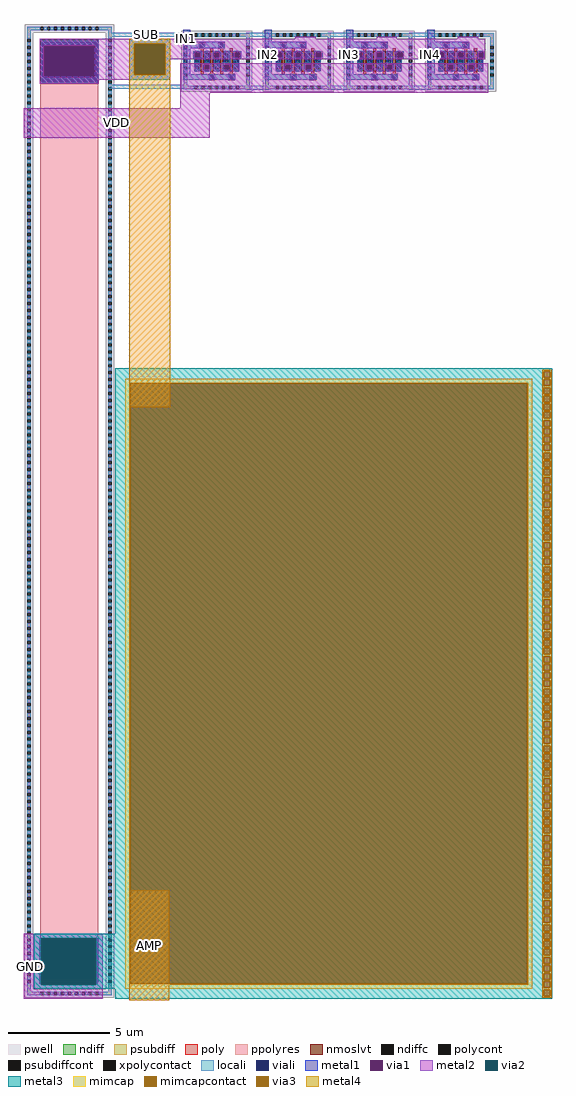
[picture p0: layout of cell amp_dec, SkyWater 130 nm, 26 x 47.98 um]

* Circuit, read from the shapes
.subckt amp_dec GND IN1 VDD IN2 IN3 IN4 AMP SUB
XM1 VDD IN1 AMP SUB sky130_fd_pr__nfet_01v8_lvt w=1 l=0.15 m=4
XM2 VDD IN2 AMP SUB sky130_fd_pr__nfet_01v8_lvt w=1 l=0.15 m=4
XM3 VDD IN3 AMP SUB sky130_fd_pr__nfet_01v8_lvt w=1 l=0.15 m=4
XM4 VDD IN4 AMP SUB sky130_fd_pr__nfet_01v8_lvt w=1 l=0.15 m=4
XC5 AMP GND sky130_fd_pr__cap_mim_m3_1 w=20 l=30
XR6 AMP GND SUB sky130_fd_pr__res_high_po w=2.85 l=42
.ends

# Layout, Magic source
magic
tech sky130A
magscale 1 2
<< locali >>
rect 5840 10060 6580 10100
rect 7190 10060 7410 10100
rect 7990 10060 8210 10100
rect 8790 10060 9010 10100
rect 5840 9550 6590 9590
rect 7190 9540 7410 9580
rect 7990 9540 8210 9580
rect 8790 9540 9010 9580
<< metal1 >>
rect 5160 9974 5740 10040
rect 5160 9666 5200 9974
rect 5700 9666 5740 9974
rect 5160 9600 5740 9666
rect 6570 10010 6640 10130
rect 7370 10010 7440 10130
rect 8170 10010 8240 10130
rect 8970 10010 9040 10130
rect 6570 9950 6980 10010
rect 7370 9950 7780 10010
rect 8170 9950 8580 10010
rect 8970 9950 9380 10010
rect 6570 9690 6640 9950
rect 6670 9906 6750 9920
rect 6670 9854 6684 9906
rect 6736 9854 6750 9906
rect 6670 9840 6750 9854
rect 6680 9720 6730 9840
rect 6780 9800 6830 9920
rect 6860 9906 6940 9920
rect 6860 9854 6874 9906
rect 6926 9854 6940 9906
rect 6860 9840 6940 9854
rect 6760 9786 6840 9800
rect 6760 9734 6774 9786
rect 6826 9734 6840 9786
rect 6760 9720 6840 9734
rect 6870 9720 6930 9840
rect 6970 9810 7030 9920
rect 7060 9906 7140 9920
rect 7060 9854 7074 9906
rect 7126 9854 7140 9906
rect 7060 9840 7140 9854
rect 7060 9830 7120 9840
rect 6960 9800 7030 9810
rect 6960 9786 7040 9800
rect 6960 9734 6974 9786
rect 7026 9734 7040 9786
rect 6960 9720 7040 9734
rect 7070 9720 7120 9830
rect 7370 9690 7440 9950
rect 7470 9906 7550 9920
rect 7470 9854 7484 9906
rect 7536 9854 7550 9906
rect 7470 9840 7550 9854
rect 7480 9720 7530 9840
rect 7580 9800 7630 9920
rect 7660 9906 7740 9920
rect 7660 9854 7674 9906
rect 7726 9854 7740 9906
rect 7660 9840 7740 9854
rect 7560 9786 7640 9800
rect 7560 9734 7574 9786
rect 7626 9734 7640 9786
rect 7560 9720 7640 9734
rect 7670 9720 7730 9840
rect 7770 9810 7830 9920
rect 7860 9906 7940 9920
rect 7860 9854 7874 9906
rect 7926 9854 7940 9906
rect 7860 9840 7940 9854
rect 7860 9830 7920 9840
rect 7760 9800 7830 9810
rect 7760 9786 7840 9800
rect 7760 9734 7774 9786
rect 7826 9734 7840 9786
rect 7760 9720 7840 9734
rect 7868 9720 7920 9830
rect 8170 9690 8240 9950
rect 8270 9906 8350 9920
rect 8270 9854 8284 9906
rect 8336 9854 8350 9906
rect 8270 9840 8350 9854
rect 8280 9720 8330 9840
rect 8380 9800 8430 9920
rect 8460 9906 8540 9920
rect 8460 9854 8474 9906
rect 8526 9854 8540 9906
rect 8460 9840 8540 9854
rect 8360 9786 8440 9800
rect 8360 9734 8374 9786
rect 8426 9734 8440 9786
rect 8360 9720 8440 9734
rect 8470 9720 8530 9840
rect 8570 9810 8630 9920
rect 8660 9906 8740 9920
rect 8660 9854 8674 9906
rect 8726 9854 8740 9906
rect 8660 9840 8740 9854
rect 8660 9830 8720 9840
rect 8560 9800 8630 9810
rect 8560 9786 8640 9800
rect 8560 9734 8574 9786
rect 8626 9734 8640 9786
rect 8560 9720 8640 9734
rect 8668 9720 8720 9830
rect 8970 9690 9040 9950
rect 9070 9906 9150 9920
rect 9070 9854 9084 9906
rect 9136 9854 9150 9906
rect 9070 9840 9150 9854
rect 9080 9720 9130 9840
rect 9180 9800 9230 9920
rect 9260 9906 9340 9920
rect 9260 9854 9274 9906
rect 9326 9854 9340 9906
rect 9260 9840 9340 9854
rect 9160 9786 9240 9800
rect 9160 9734 9174 9786
rect 9226 9734 9240 9786
rect 9160 9720 9240 9734
rect 9270 9720 9330 9840
rect 9370 9810 9430 9920
rect 9460 9906 9540 9920
rect 9460 9854 9474 9906
rect 9526 9854 9540 9906
rect 9460 9840 9540 9854
rect 9460 9830 9520 9840
rect 9360 9800 9430 9810
rect 9360 9786 9440 9800
rect 9360 9734 9374 9786
rect 9426 9734 9440 9786
rect 9360 9720 9440 9734
rect 9468 9720 9520 9830
rect 6570 9640 7080 9690
rect 7370 9640 7880 9690
rect 8170 9640 8680 9690
rect 8970 9640 9480 9690
rect 5100 1188 5780 1240
rect 5100 752 5158 1188
rect 5722 752 5780 1188
rect 5100 700 5780 752
<< via1 >>
rect 5200 9666 5700 9974
rect 6684 9854 6736 9906
rect 6874 9854 6926 9906
rect 6774 9734 6826 9786
rect 7074 9854 7126 9906
rect 6974 9734 7026 9786
rect 7484 9854 7536 9906
rect 7674 9854 7726 9906
rect 7574 9734 7626 9786
rect 7874 9854 7926 9906
rect 7774 9734 7826 9786
rect 8284 9854 8336 9906
rect 8474 9854 8526 9906
rect 8374 9734 8426 9786
rect 8674 9854 8726 9906
rect 8574 9734 8626 9786
rect 9084 9854 9136 9906
rect 9274 9854 9326 9906
rect 9174 9734 9226 9786
rect 9474 9854 9526 9906
rect 9374 9734 9426 9786
rect 5158 752 5722 1188
<< metal2 >>
rect 7670 10040 7870 10060
rect 8470 10040 8670 10060
rect 9270 10040 9470 10060
rect 5160 9988 9540 10040
rect 5160 9974 6092 9988
rect 5160 9666 5200 9974
rect 5700 9692 6092 9974
rect 6388 9906 9540 9988
rect 6388 9854 6684 9906
rect 6736 9854 6874 9906
rect 6926 9854 7074 9906
rect 7126 9854 7484 9906
rect 7536 9854 7674 9906
rect 7726 9854 7874 9906
rect 7926 9854 8284 9906
rect 8336 9854 8474 9906
rect 8526 9854 8674 9906
rect 8726 9854 9084 9906
rect 9136 9854 9274 9906
rect 9326 9854 9474 9906
rect 9526 9854 9540 9906
rect 6388 9840 9540 9854
rect 6388 9692 6440 9840
rect 5700 9666 6440 9692
rect 5160 9640 6440 9666
rect 6540 9786 9570 9800
rect 6540 9734 6774 9786
rect 6826 9734 6974 9786
rect 7026 9734 7574 9786
rect 7626 9734 7774 9786
rect 7826 9734 8374 9786
rect 8426 9734 8574 9786
rect 8626 9734 9174 9786
rect 9226 9734 9374 9786
rect 9426 9734 9570 9786
rect 5160 9600 5740 9640
rect 6540 9510 9570 9734
rect 6540 9360 6830 9510
rect 5000 9070 6830 9360
rect 5000 1198 5780 1240
rect 5000 1188 5172 1198
rect 5708 1188 5780 1198
rect 5000 752 5158 1188
rect 5722 752 5780 1188
rect 5000 742 5172 752
rect 5708 742 5780 752
rect 5000 600 5780 742
<< via2 >>
rect 6092 9692 6388 9988
rect 5172 1188 5708 1198
rect 5172 752 5708 1188
rect 5172 742 5708 752
<< metal3 >>
rect 6040 9992 6440 10040
rect 6040 9688 6088 9992
rect 6392 9688 6440 9992
rect 6040 9640 6440 9688
rect 5100 1198 6040 1240
rect 5100 742 5172 1198
rect 5708 742 6040 1198
rect 5100 700 6040 742
<< via3 >>
rect 6088 9988 6392 9992
rect 6088 9692 6092 9988
rect 6092 9692 6388 9988
rect 6388 9692 6392 9988
rect 6088 9688 6392 9692
<< metal4 >>
rect 6040 9992 6440 10040
rect 6040 9688 6088 9992
rect 6392 9688 6440 9992
rect 6040 6420 6440 9688
rect 6040 590 6430 1670
use sky130_fd_pr__cap_mim_m3_1_4RCNTW  XC1
transform 1 0 8050 0 1 3700
box -2150 -3100 2149 3100
use sky130_fd_pr__nfet_01v8_lvt_HNLS5R  XM25
transform 1 0 8499 0 -1 9820
box -349 -300 349 300
use sky130_fd_pr__nfet_01v8_lvt_HNLS5R  XM26
transform 1 0 9299 0 -1 9820
box -349 -300 349 300
use sky130_fd_pr__nfet_01v8_lvt_HNLS5R  XM27
transform 1 0 7699 0 -1 9820
box -349 -300 349 300
use sky130_fd_pr__nfet_01v8_lvt_HNLS5R  XM28
transform 1 0 6899 0 -1 9820
box -349 -300 349 300
use sky130_fd_pr__res_high_po_2p85_MXEQGY  XR18
transform 1 0 5451 0 1 5398
box -441 -4788 441 4788
<< labels >>
rlabel metal2 s 5000 600 5140 1240 4 GND
port 1 nsew
rlabel metal1 s 6570 9950 6640 10130 4 IN1
port 2 nsew
rlabel metal2 s 5000 9070 6830 9360 4 VDD
port 3 nsew
rlabel metal1 s 7370 9640 7440 10130 4 IN2
port 4 nsew
rlabel metal1 s 8170 9640 8240 10130 4 IN3
port 5 nsew
rlabel metal1 s 8970 9640 9040 10130 4 IN4
port 6 nsew
rlabel metal4 s 6040 590 6430 1670 4 AMP
port 7 nsew
rlabel locali s 5840 10060 6580 10100 4 SUB
port 8 nsew
<< end >>

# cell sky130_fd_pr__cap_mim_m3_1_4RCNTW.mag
magic
tech sky130A
magscale 1 2
<< metal3 >>
rect -2150 3072 2149 3100
rect -2150 3008 2065 3072
rect 2129 3008 2149 3072
rect -2150 2992 2149 3008
rect -2150 2928 2065 2992
rect 2129 2928 2149 2992
rect -2150 2912 2149 2928
rect -2150 2848 2065 2912
rect 2129 2848 2149 2912
rect -2150 2832 2149 2848
rect -2150 2768 2065 2832
rect 2129 2768 2149 2832
rect -2150 2752 2149 2768
rect -2150 2688 2065 2752
rect 2129 2688 2149 2752
rect -2150 2672 2149 2688
rect -2150 2608 2065 2672
rect 2129 2608 2149 2672
rect -2150 2592 2149 2608
rect -2150 2528 2065 2592
rect 2129 2528 2149 2592
rect -2150 2512 2149 2528
rect -2150 2448 2065 2512
rect 2129 2448 2149 2512
rect -2150 2432 2149 2448
rect -2150 2368 2065 2432
rect 2129 2368 2149 2432
rect -2150 2352 2149 2368
rect -2150 2288 2065 2352
rect 2129 2288 2149 2352
rect -2150 2272 2149 2288
rect -2150 2208 2065 2272
rect 2129 2208 2149 2272
rect -2150 2192 2149 2208
rect -2150 2128 2065 2192
rect 2129 2128 2149 2192
rect -2150 2112 2149 2128
rect -2150 2048 2065 2112
rect 2129 2048 2149 2112
rect -2150 2032 2149 2048
rect -2150 1968 2065 2032
rect 2129 1968 2149 2032
rect -2150 1952 2149 1968
rect -2150 1888 2065 1952
rect 2129 1888 2149 1952
rect -2150 1872 2149 1888
rect -2150 1808 2065 1872
rect 2129 1808 2149 1872
rect -2150 1792 2149 1808
rect -2150 1728 2065 1792
rect 2129 1728 2149 1792
rect -2150 1712 2149 1728
rect -2150 1648 2065 1712
rect 2129 1648 2149 1712
rect -2150 1632 2149 1648
rect -2150 1568 2065 1632
rect 2129 1568 2149 1632
rect -2150 1552 2149 1568
rect -2150 1488 2065 1552
rect 2129 1488 2149 1552
rect -2150 1472 2149 1488
rect -2150 1408 2065 1472
rect 2129 1408 2149 1472
rect -2150 1392 2149 1408
rect -2150 1328 2065 1392
rect 2129 1328 2149 1392
rect -2150 1312 2149 1328
rect -2150 1248 2065 1312
rect 2129 1248 2149 1312
rect -2150 1232 2149 1248
rect -2150 1168 2065 1232
rect 2129 1168 2149 1232
rect -2150 1152 2149 1168
rect -2150 1088 2065 1152
rect 2129 1088 2149 1152
rect -2150 1072 2149 1088
rect -2150 1008 2065 1072
rect 2129 1008 2149 1072
rect -2150 992 2149 1008
rect -2150 928 2065 992
rect 2129 928 2149 992
rect -2150 912 2149 928
rect -2150 848 2065 912
rect 2129 848 2149 912
rect -2150 832 2149 848
rect -2150 768 2065 832
rect 2129 768 2149 832
rect -2150 752 2149 768
rect -2150 688 2065 752
rect 2129 688 2149 752
rect -2150 672 2149 688
rect -2150 608 2065 672
rect 2129 608 2149 672
rect -2150 592 2149 608
rect -2150 528 2065 592
rect 2129 528 2149 592
rect -2150 512 2149 528
rect -2150 448 2065 512
rect 2129 448 2149 512
rect -2150 432 2149 448
rect -2150 368 2065 432
rect 2129 368 2149 432
rect -2150 352 2149 368
rect -2150 288 2065 352
rect 2129 288 2149 352
rect -2150 272 2149 288
rect -2150 208 2065 272
rect 2129 208 2149 272
rect -2150 192 2149 208
rect -2150 128 2065 192
rect 2129 128 2149 192
rect -2150 112 2149 128
rect -2150 48 2065 112
rect 2129 48 2149 112
rect -2150 32 2149 48
rect -2150 -32 2065 32
rect 2129 -32 2149 32
rect -2150 -48 2149 -32
rect -2150 -112 2065 -48
rect 2129 -112 2149 -48
rect -2150 -128 2149 -112
rect -2150 -192 2065 -128
rect 2129 -192 2149 -128
rect -2150 -208 2149 -192
rect -2150 -272 2065 -208
rect 2129 -272 2149 -208
rect -2150 -288 2149 -272
rect -2150 -352 2065 -288
rect 2129 -352 2149 -288
rect -2150 -368 2149 -352
rect -2150 -432 2065 -368
rect 2129 -432 2149 -368
rect -2150 -448 2149 -432
rect -2150 -512 2065 -448
rect 2129 -512 2149 -448
rect -2150 -528 2149 -512
rect -2150 -592 2065 -528
rect 2129 -592 2149 -528
rect -2150 -608 2149 -592
rect -2150 -672 2065 -608
rect 2129 -672 2149 -608
rect -2150 -688 2149 -672
rect -2150 -752 2065 -688
rect 2129 -752 2149 -688
rect -2150 -768 2149 -752
rect -2150 -832 2065 -768
rect 2129 -832 2149 -768
rect -2150 -848 2149 -832
rect -2150 -912 2065 -848
rect 2129 -912 2149 -848
rect -2150 -928 2149 -912
rect -2150 -992 2065 -928
rect 2129 -992 2149 -928
rect -2150 -1008 2149 -992
rect -2150 -1072 2065 -1008
rect 2129 -1072 2149 -1008
rect -2150 -1088 2149 -1072
rect -2150 -1152 2065 -1088
rect 2129 -1152 2149 -1088
rect -2150 -1168 2149 -1152
rect -2150 -1232 2065 -1168
rect 2129 -1232 2149 -1168
rect -2150 -1248 2149 -1232
rect -2150 -1312 2065 -1248
rect 2129 -1312 2149 -1248
rect -2150 -1328 2149 -1312
rect -2150 -1392 2065 -1328
rect 2129 -1392 2149 -1328
rect -2150 -1408 2149 -1392
rect -2150 -1472 2065 -1408
rect 2129 -1472 2149 -1408
rect -2150 -1488 2149 -1472
rect -2150 -1552 2065 -1488
rect 2129 -1552 2149 -1488
rect -2150 -1568 2149 -1552
rect -2150 -1632 2065 -1568
rect 2129 -1632 2149 -1568
rect -2150 -1648 2149 -1632
rect -2150 -1712 2065 -1648
rect 2129 -1712 2149 -1648
rect -2150 -1728 2149 -1712
rect -2150 -1792 2065 -1728
rect 2129 -1792 2149 -1728
rect -2150 -1808 2149 -1792
rect -2150 -1872 2065 -1808
rect 2129 -1872 2149 -1808
rect -2150 -1888 2149 -1872
rect -2150 -1952 2065 -1888
rect 2129 -1952 2149 -1888
rect -2150 -1968 2149 -1952
rect -2150 -2032 2065 -1968
rect 2129 -2032 2149 -1968
rect -2150 -2048 2149 -2032
rect -2150 -2112 2065 -2048
rect 2129 -2112 2149 -2048
rect -2150 -2128 2149 -2112
rect -2150 -2192 2065 -2128
rect 2129 -2192 2149 -2128
rect -2150 -2208 2149 -2192
rect -2150 -2272 2065 -2208
rect 2129 -2272 2149 -2208
rect -2150 -2288 2149 -2272
rect -2150 -2352 2065 -2288
rect 2129 -2352 2149 -2288
rect -2150 -2368 2149 -2352
rect -2150 -2432 2065 -2368
rect 2129 -2432 2149 -2368
rect -2150 -2448 2149 -2432
rect -2150 -2512 2065 -2448
rect 2129 -2512 2149 -2448
rect -2150 -2528 2149 -2512
rect -2150 -2592 2065 -2528
rect 2129 -2592 2149 -2528
rect -2150 -2608 2149 -2592
rect -2150 -2672 2065 -2608
rect 2129 -2672 2149 -2608
rect -2150 -2688 2149 -2672
rect -2150 -2752 2065 -2688
rect 2129 -2752 2149 -2688
rect -2150 -2768 2149 -2752
rect -2150 -2832 2065 -2768
rect 2129 -2832 2149 -2768
rect -2150 -2848 2149 -2832
rect -2150 -2912 2065 -2848
rect 2129 -2912 2149 -2848
rect -2150 -2928 2149 -2912
rect -2150 -2992 2065 -2928
rect 2129 -2992 2149 -2928
rect -2150 -3008 2149 -2992
rect -2150 -3072 2065 -3008
rect 2129 -3072 2149 -3008
rect -2150 -3100 2149 -3072
<< via3 >>
rect 2065 3008 2129 3072
rect 2065 2928 2129 2992
rect 2065 2848 2129 2912
rect 2065 2768 2129 2832
rect 2065 2688 2129 2752
rect 2065 2608 2129 2672
rect 2065 2528 2129 2592
rect 2065 2448 2129 2512
rect 2065 2368 2129 2432
rect 2065 2288 2129 2352
rect 2065 2208 2129 2272
rect 2065 2128 2129 2192
rect 2065 2048 2129 2112
rect 2065 1968 2129 2032
rect 2065 1888 2129 1952
rect 2065 1808 2129 1872
rect 2065 1728 2129 1792
rect 2065 1648 2129 1712
rect 2065 1568 2129 1632
rect 2065 1488 2129 1552
rect 2065 1408 2129 1472
rect 2065 1328 2129 1392
rect 2065 1248 2129 1312
rect 2065 1168 2129 1232
rect 2065 1088 2129 1152
rect 2065 1008 2129 1072
rect 2065 928 2129 992
rect 2065 848 2129 912
rect 2065 768 2129 832
rect 2065 688 2129 752
rect 2065 608 2129 672
rect 2065 528 2129 592
rect 2065 448 2129 512
rect 2065 368 2129 432
rect 2065 288 2129 352
rect 2065 208 2129 272
rect 2065 128 2129 192
rect 2065 48 2129 112
rect 2065 -32 2129 32
rect 2065 -112 2129 -48
rect 2065 -192 2129 -128
rect 2065 -272 2129 -208
rect 2065 -352 2129 -288
rect 2065 -432 2129 -368
rect 2065 -512 2129 -448
rect 2065 -592 2129 -528
rect 2065 -672 2129 -608
rect 2065 -752 2129 -688
rect 2065 -832 2129 -768
rect 2065 -912 2129 -848
rect 2065 -992 2129 -928
rect 2065 -1072 2129 -1008
rect 2065 -1152 2129 -1088
rect 2065 -1232 2129 -1168
rect 2065 -1312 2129 -1248
rect 2065 -1392 2129 -1328
rect 2065 -1472 2129 -1408
rect 2065 -1552 2129 -1488
rect 2065 -1632 2129 -1568
rect 2065 -1712 2129 -1648
rect 2065 -1792 2129 -1728
rect 2065 -1872 2129 -1808
rect 2065 -1952 2129 -1888
rect 2065 -2032 2129 -1968
rect 2065 -2112 2129 -2048
rect 2065 -2192 2129 -2128
rect 2065 -2272 2129 -2208
rect 2065 -2352 2129 -2288
rect 2065 -2432 2129 -2368
rect 2065 -2512 2129 -2448
rect 2065 -2592 2129 -2528
rect 2065 -2672 2129 -2608
rect 2065 -2752 2129 -2688
rect 2065 -2832 2129 -2768
rect 2065 -2912 2129 -2848
rect 2065 -2992 2129 -2928
rect 2065 -3072 2129 -3008
<< mimcap >>
rect -2050 2952 1950 3000
rect -2050 -2952 -2002 2952
rect 1902 -2952 1950 2952
rect -2050 -3000 1950 -2952
<< mimcapcontact >>
rect -2002 -2952 1902 2952
<< metal4 >>
rect 2049 3072 2145 3088
rect 2049 3008 2065 3072
rect 2129 3008 2145 3072
rect 2049 2992 2145 3008
rect -2011 2952 1911 2961
rect -2011 -2952 -2002 2952
rect 1902 -2952 1911 2952
rect -2011 -2961 1911 -2952
rect 2049 2928 2065 2992
rect 2129 2928 2145 2992
rect 2049 2912 2145 2928
rect 2049 2848 2065 2912
rect 2129 2848 2145 2912
rect 2049 2832 2145 2848
rect 2049 2768 2065 2832
rect 2129 2768 2145 2832
rect 2049 2752 2145 2768
rect 2049 2688 2065 2752
rect 2129 2688 2145 2752
rect 2049 2672 2145 2688
rect 2049 2608 2065 2672
rect 2129 2608 2145 2672
rect 2049 2592 2145 2608
rect 2049 2528 2065 2592
rect 2129 2528 2145 2592
rect 2049 2512 2145 2528
rect 2049 2448 2065 2512
rect 2129 2448 2145 2512
rect 2049 2432 2145 2448
rect 2049 2368 2065 2432
rect 2129 2368 2145 2432
rect 2049 2352 2145 2368
rect 2049 2288 2065 2352
rect 2129 2288 2145 2352
rect 2049 2272 2145 2288
rect 2049 2208 2065 2272
rect 2129 2208 2145 2272
rect 2049 2192 2145 2208
rect 2049 2128 2065 2192
rect 2129 2128 2145 2192
rect 2049 2112 2145 2128
rect 2049 2048 2065 2112
rect 2129 2048 2145 2112
rect 2049 2032 2145 2048
rect 2049 1968 2065 2032
rect 2129 1968 2145 2032
rect 2049 1952 2145 1968
rect 2049 1888 2065 1952
rect 2129 1888 2145 1952
rect 2049 1872 2145 1888
rect 2049 1808 2065 1872
rect 2129 1808 2145 1872
rect 2049 1792 2145 1808
rect 2049 1728 2065 1792
rect 2129 1728 2145 1792
rect 2049 1712 2145 1728
rect 2049 1648 2065 1712
rect 2129 1648 2145 1712
rect 2049 1632 2145 1648
rect 2049 1568 2065 1632
rect 2129 1568 2145 1632
rect 2049 1552 2145 1568
rect 2049 1488 2065 1552
rect 2129 1488 2145 1552
rect 2049 1472 2145 1488
rect 2049 1408 2065 1472
rect 2129 1408 2145 1472
rect 2049 1392 2145 1408
rect 2049 1328 2065 1392
rect 2129 1328 2145 1392
rect 2049 1312 2145 1328
rect 2049 1248 2065 1312
rect 2129 1248 2145 1312
rect 2049 1232 2145 1248
rect 2049 1168 2065 1232
rect 2129 1168 2145 1232
rect 2049 1152 2145 1168
rect 2049 1088 2065 1152
rect 2129 1088 2145 1152
rect 2049 1072 2145 1088
rect 2049 1008 2065 1072
rect 2129 1008 2145 1072
rect 2049 992 2145 1008
rect 2049 928 2065 992
rect 2129 928 2145 992
rect 2049 912 2145 928
rect 2049 848 2065 912
rect 2129 848 2145 912
rect 2049 832 2145 848
rect 2049 768 2065 832
rect 2129 768 2145 832
rect 2049 752 2145 768
rect 2049 688 2065 752
rect 2129 688 2145 752
rect 2049 672 2145 688
rect 2049 608 2065 672
rect 2129 608 2145 672
rect 2049 592 2145 608
rect 2049 528 2065 592
rect 2129 528 2145 592
rect 2049 512 2145 528
rect 2049 448 2065 512
rect 2129 448 2145 512
rect 2049 432 2145 448
rect 2049 368 2065 432
rect 2129 368 2145 432
rect 2049 352 2145 368
rect 2049 288 2065 352
rect 2129 288 2145 352
rect 2049 272 2145 288
rect 2049 208 2065 272
rect 2129 208 2145 272
rect 2049 192 2145 208
rect 2049 128 2065 192
rect 2129 128 2145 192
rect 2049 112 2145 128
rect 2049 48 2065 112
rect 2129 48 2145 112
rect 2049 32 2145 48
rect 2049 -32 2065 32
rect 2129 -32 2145 32
rect 2049 -48 2145 -32
rect 2049 -112 2065 -48
rect 2129 -112 2145 -48
rect 2049 -128 2145 -112
rect 2049 -192 2065 -128
rect 2129 -192 2145 -128
rect 2049 -208 2145 -192
rect 2049 -272 2065 -208
rect 2129 -272 2145 -208
rect 2049 -288 2145 -272
rect 2049 -352 2065 -288
rect 2129 -352 2145 -288
rect 2049 -368 2145 -352
rect 2049 -432 2065 -368
rect 2129 -432 2145 -368
rect 2049 -448 2145 -432
rect 2049 -512 2065 -448
rect 2129 -512 2145 -448
rect 2049 -528 2145 -512
rect 2049 -592 2065 -528
rect 2129 -592 2145 -528
rect 2049 -608 2145 -592
rect 2049 -672 2065 -608
rect 2129 -672 2145 -608
rect 2049 -688 2145 -672
rect 2049 -752 2065 -688
rect 2129 -752 2145 -688
rect 2049 -768 2145 -752
rect 2049 -832 2065 -768
rect 2129 -832 2145 -768
rect 2049 -848 2145 -832
rect 2049 -912 2065 -848
rect 2129 -912 2145 -848
rect 2049 -928 2145 -912
rect 2049 -992 2065 -928
rect 2129 -992 2145 -928
rect 2049 -1008 2145 -992
rect 2049 -1072 2065 -1008
rect 2129 -1072 2145 -1008
rect 2049 -1088 2145 -1072
rect 2049 -1152 2065 -1088
rect 2129 -1152 2145 -1088
rect 2049 -1168 2145 -1152
rect 2049 -1232 2065 -1168
rect 2129 -1232 2145 -1168
rect 2049 -1248 2145 -1232
rect 2049 -1312 2065 -1248
rect 2129 -1312 2145 -1248
rect 2049 -1328 2145 -1312
rect 2049 -1392 2065 -1328
rect 2129 -1392 2145 -1328
rect 2049 -1408 2145 -1392
rect 2049 -1472 2065 -1408
rect 2129 -1472 2145 -1408
rect 2049 -1488 2145 -1472
rect 2049 -1552 2065 -1488
rect 2129 -1552 2145 -1488
rect 2049 -1568 2145 -1552
rect 2049 -1632 2065 -1568
rect 2129 -1632 2145 -1568
rect 2049 -1648 2145 -1632
rect 2049 -1712 2065 -1648
rect 2129 -1712 2145 -1648
rect 2049 -1728 2145 -1712
rect 2049 -1792 2065 -1728
rect 2129 -1792 2145 -1728
rect 2049 -1808 2145 -1792
rect 2049 -1872 2065 -1808
rect 2129 -1872 2145 -1808
rect 2049 -1888 2145 -1872
rect 2049 -1952 2065 -1888
rect 2129 -1952 2145 -1888
rect 2049 -1968 2145 -1952
rect 2049 -2032 2065 -1968
rect 2129 -2032 2145 -1968
rect 2049 -2048 2145 -2032
rect 2049 -2112 2065 -2048
rect 2129 -2112 2145 -2048
rect 2049 -2128 2145 -2112
rect 2049 -2192 2065 -2128
rect 2129 -2192 2145 -2128
rect 2049 -2208 2145 -2192
rect 2049 -2272 2065 -2208
rect 2129 -2272 2145 -2208
rect 2049 -2288 2145 -2272
rect 2049 -2352 2065 -2288
rect 2129 -2352 2145 -2288
rect 2049 -2368 2145 -2352
rect 2049 -2432 2065 -2368
rect 2129 -2432 2145 -2368
rect 2049 -2448 2145 -2432
rect 2049 -2512 2065 -2448
rect 2129 -2512 2145 -2448
rect 2049 -2528 2145 -2512
rect 2049 -2592 2065 -2528
rect 2129 -2592 2145 -2528
rect 2049 -2608 2145 -2592
rect 2049 -2672 2065 -2608
rect 2129 -2672 2145 -2608
rect 2049 -2688 2145 -2672
rect 2049 -2752 2065 -2688
rect 2129 -2752 2145 -2688
rect 2049 -2768 2145 -2752
rect 2049 -2832 2065 -2768
rect 2129 -2832 2145 -2768
rect 2049 -2848 2145 -2832
rect 2049 -2912 2065 -2848
rect 2129 -2912 2145 -2848
rect 2049 -2928 2145 -2912
rect 2049 -2992 2065 -2928
rect 2129 -2992 2145 -2928
rect 2049 -3008 2145 -2992
rect 2049 -3072 2065 -3008
rect 2129 -3072 2145 -3008
rect 2049 -3088 2145 -3072
<< properties >>
string FIXED_BBOX -2150 -3100 2050 3100
<< end >>

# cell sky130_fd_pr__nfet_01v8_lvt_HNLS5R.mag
magic
tech sky130A
magscale 1 2
<< pwell >>
rect -349 -300 349 300
<< nmoslvt >>
rect -159 -100 -129 100
rect -63 -100 -33 100
rect 33 -100 63 100
rect 129 -100 159 100
<< ndiff >>
rect -221 85 -159 100
rect -221 51 -209 85
rect -175 51 -159 85
rect -221 17 -159 51
rect -221 -17 -209 17
rect -175 -17 -159 17
rect -221 -51 -159 -17
rect -221 -85 -209 -51
rect -175 -85 -159 -51
rect -221 -100 -159 -85
rect -129 85 -63 100
rect -129 51 -113 85
rect -79 51 -63 85
rect -129 17 -63 51
rect -129 -17 -113 17
rect -79 -17 -63 17
rect -129 -51 -63 -17
rect -129 -85 -113 -51
rect -79 -85 -63 -51
rect -129 -100 -63 -85
rect -33 85 33 100
rect -33 51 -17 85
rect 17 51 33 85
rect -33 17 33 51
rect -33 -17 -17 17
rect 17 -17 33 17
rect -33 -51 33 -17
rect -33 -85 -17 -51
rect 17 -85 33 -51
rect -33 -100 33 -85
rect 63 85 129 100
rect 63 51 79 85
rect 113 51 129 85
rect 63 17 129 51
rect 63 -17 79 17
rect 113 -17 129 17
rect 63 -51 129 -17
rect 63 -85 79 -51
rect 113 -85 129 -51
rect 63 -100 129 -85
rect 159 85 221 100
rect 159 51 175 85
rect 209 51 221 85
rect 159 17 221 51
rect 159 -17 175 17
rect 209 -17 221 17
rect 159 -51 221 -17
rect 159 -85 175 -51
rect 209 -85 221 -51
rect 159 -100 221 -85
<< ndiffc >>
rect -209 51 -175 85
rect -209 -17 -175 17
rect -209 -85 -175 -51
rect -113 51 -79 85
rect -113 -17 -79 17
rect -113 -85 -79 -51
rect -17 51 17 85
rect -17 -17 17 17
rect -17 -85 17 -51
rect 79 51 113 85
rect 79 -17 113 17
rect 79 -85 113 -51
rect 175 51 209 85
rect 175 -17 209 17
rect 175 -85 209 -51
<< psubdiff >>
rect -323 240 -221 274
rect -187 240 -153 274
rect -119 240 -85 274
rect -51 240 -17 274
rect 17 240 51 274
rect 85 240 119 274
rect 153 240 187 274
rect 221 240 323 274
rect -323 153 -289 240
rect -323 85 -289 119
rect 289 153 323 240
rect -323 17 -289 51
rect -323 -51 -289 -17
rect -323 -119 -289 -85
rect 289 85 323 119
rect 289 17 323 51
rect 289 -51 323 -17
rect -323 -240 -289 -153
rect 289 -119 323 -85
rect 289 -240 323 -153
rect -323 -274 -221 -240
rect -187 -274 -153 -240
rect -119 -274 -85 -240
rect -51 -274 -17 -240
rect 17 -274 51 -240
rect 85 -274 119 -240
rect 153 -274 187 -240
rect 221 -274 323 -240
<< psubdiffcont >>
rect -221 240 -187 274
rect -153 240 -119 274
rect -85 240 -51 274
rect -17 240 17 274
rect 51 240 85 274
rect 119 240 153 274
rect 187 240 221 274
rect -323 119 -289 153
rect 289 119 323 153
rect -323 51 -289 85
rect -323 -17 -289 17
rect -323 -85 -289 -51
rect 289 51 323 85
rect 289 -17 323 17
rect 289 -85 323 -51
rect -323 -153 -289 -119
rect 289 -153 323 -119
rect -221 -274 -187 -240
rect -153 -274 -119 -240
rect -85 -274 -51 -240
rect -17 -274 17 -240
rect 51 -274 85 -240
rect 119 -274 153 -240
rect 187 -274 221 -240
<< poly >>
rect -81 172 -15 188
rect -81 138 -65 172
rect -31 138 -15 172
rect -159 100 -129 126
rect -81 122 -15 138
rect 111 172 177 188
rect 111 138 127 172
rect 161 138 177 172
rect -63 100 -33 122
rect 33 100 63 126
rect 111 122 177 138
rect 129 100 159 122
rect -159 -122 -129 -100
rect -177 -138 -111 -122
rect -63 -126 -33 -100
rect 33 -122 63 -100
rect -177 -172 -161 -138
rect -127 -172 -111 -138
rect -177 -188 -111 -172
rect 15 -138 81 -122
rect 129 -126 159 -100
rect 15 -172 31 -138
rect 65 -172 81 -138
rect 15 -188 81 -172
<< polycont >>
rect -65 138 -31 172
rect 127 138 161 172
rect -161 -172 -127 -138
rect 31 -172 65 -138
<< locali >>
rect -323 240 -221 274
rect -187 240 -153 274
rect -119 240 -85 274
rect -51 240 -17 274
rect 17 240 51 274
rect 85 240 119 274
rect 153 240 187 274
rect 221 240 323 274
rect -323 153 -289 240
rect -81 138 -65 172
rect -31 138 -15 172
rect 111 138 127 172
rect 161 138 177 172
rect 289 153 323 240
rect -323 85 -289 119
rect -323 17 -289 51
rect -323 -51 -289 -17
rect -323 -119 -289 -85
rect -209 85 -175 104
rect -209 17 -175 19
rect -209 -19 -175 -17
rect -209 -104 -175 -85
rect -113 85 -79 104
rect -113 17 -79 19
rect -113 -19 -79 -17
rect -113 -104 -79 -85
rect -17 85 17 104
rect -17 17 17 19
rect -17 -19 17 -17
rect -17 -104 17 -85
rect 79 85 113 104
rect 79 17 113 19
rect 79 -19 113 -17
rect 79 -104 113 -85
rect 175 85 209 104
rect 175 17 209 19
rect 175 -19 209 -17
rect 175 -104 209 -85
rect 289 85 323 119
rect 289 17 323 51
rect 289 -51 323 -17
rect 289 -119 323 -85
rect -323 -240 -289 -153
rect -177 -172 -161 -138
rect -127 -172 -111 -138
rect 15 -172 31 -138
rect 65 -172 81 -138
rect 289 -240 323 -153
rect -323 -274 -221 -240
rect -187 -274 -153 -240
rect -119 -274 -85 -240
rect -51 -274 -17 -240
rect 17 -274 51 -240
rect 85 -274 119 -240
rect 153 -274 187 -240
rect 221 -274 323 -240
<< viali >>
rect -65 138 -31 172
rect 127 138 161 172
rect -209 51 -175 53
rect -209 19 -175 51
rect -209 -51 -175 -19
rect -209 -53 -175 -51
rect -113 51 -79 53
rect -113 19 -79 51
rect -113 -51 -79 -19
rect -113 -53 -79 -51
rect -17 51 17 53
rect -17 19 17 51
rect -17 -51 17 -19
rect -17 -53 17 -51
rect 79 51 113 53
rect 79 19 113 51
rect 79 -51 113 -19
rect 79 -53 113 -51
rect 175 51 209 53
rect 175 19 209 51
rect 175 -51 209 -19
rect 175 -53 209 -51
rect -161 -172 -127 -138
rect 31 -172 65 -138
<< metal1 >>
rect -77 175 -19 178
rect 115 175 173 178
rect -90 172 175 175
rect -90 140 -65 172
rect -77 138 -65 140
rect -31 140 127 172
rect -31 138 -19 140
rect -77 132 -19 138
rect 115 138 127 140
rect 161 140 175 172
rect 161 138 173 140
rect 115 132 173 138
rect -215 53 -169 100
rect -215 19 -209 53
rect -175 19 -169 53
rect -215 -19 -169 19
rect -215 -53 -209 -19
rect -175 -53 -169 -19
rect -215 -100 -169 -53
rect -119 53 -73 100
rect -119 19 -113 53
rect -79 19 -73 53
rect -119 -19 -73 19
rect -119 -53 -113 -19
rect -79 -53 -73 -19
rect -119 -100 -73 -53
rect -23 53 23 100
rect -23 19 -17 53
rect 17 19 23 53
rect -23 -19 23 19
rect -23 -53 -17 -19
rect 17 -53 23 -19
rect -23 -100 23 -53
rect 73 53 119 100
rect 73 19 79 53
rect 113 19 119 53
rect 73 -19 119 19
rect 73 -53 79 -19
rect 113 -53 119 -19
rect 73 -100 119 -53
rect 169 53 215 100
rect 169 19 175 53
rect 209 19 215 53
rect 169 -19 215 19
rect 169 -53 175 -19
rect 209 -53 215 -19
rect 169 -100 215 -53
rect -173 -138 -115 -132
rect -173 -140 -161 -138
rect -175 -172 -161 -140
rect -127 -140 -115 -138
rect 19 -138 77 -132
rect 19 -140 31 -138
rect -127 -172 31 -140
rect 65 -140 77 -138
rect 65 -172 80 -140
rect -175 -175 80 -172
rect -173 -178 -115 -175
rect 19 -178 77 -175
<< properties >>
string FIXED_BBOX -306 -257 306 257
<< end >>

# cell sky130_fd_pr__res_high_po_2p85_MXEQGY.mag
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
